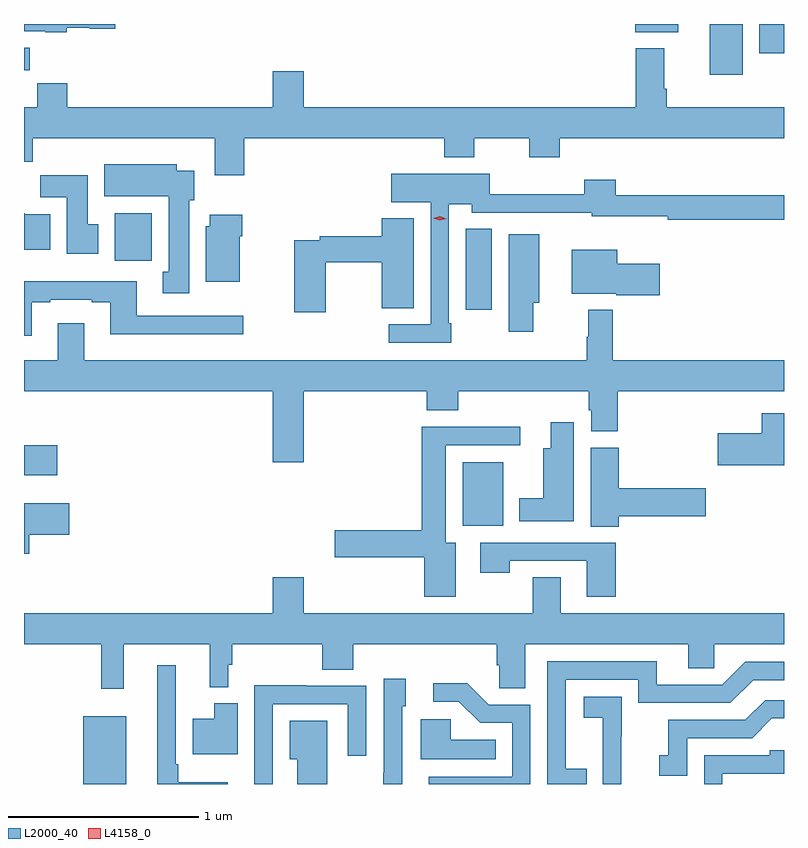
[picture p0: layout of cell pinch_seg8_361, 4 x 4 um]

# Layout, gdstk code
import gdstk
lib = gdstk.Library(unit=1e-6, precision=1e-09)
def R(c, l, rs):  # rectangles x0, y0, x1, y1
    for r in rs: c.add(gdstk.rectangle(r[:2], r[2:], *l))
def P(c, l, *ps):  # polygons
    for p in ps: c.add(gdstk.Polygon(p, *l))
L2000_40 = (2000, 40)
L4158_0 = (4158, 0)

pinch_seg8_361 = lib.new_cell('pinch_seg8_361')
R(pinch_seg8_361, L2000_40, [(487.688,1101.113,487.915,1101.469), (489.686,1102.472,489.898,1102.807), (487.376,1102.739,487.552,1102.897), (489.701,1103.61,489.838,1104.035), (487.853,1103.868,488.049,1104.118), (490.985,1104.845,491.158,1105.113), (487.376,1104.87,487.406,1104.988), (491.246,1104.96,491.376,1105.113), (490.592,1105.07,490.819,1105.113)])
P(pinch_seg8_361, L2000_40, [(487.602,1105.094),(487.722,1105.094),(487.722,1105.087),(487.855,1105.087),(487.855,1105.113),(487.376,1105.113),(487.376,1105.076),(487.488,1105.076),(487.488,1105.07),(487.602,1105.07)],
  [(491.376,1104.676),(490.76,1104.676),(490.76,1104.772),(490.747,1104.772),(490.747,1104.985),(490.595,1104.985),(490.595,1104.676),(488.848,1104.676),(488.848,1104.865),(488.684,1104.865),(488.684,1104.676),(487.604,1104.676),(487.604,1104.8),(487.447,1104.8),(487.447,1104.676),(487.376,1104.676),(487.376,1104.388),(487.421,1104.388),(487.421,1104.512),(488.381,1104.512),(488.381,1104.318),(488.534,1104.318),(488.534,1104.512),(489.587,1104.512),(489.587,1104.413),(489.747,1104.413),(489.747,1104.512),(490.036,1104.512),(490.036,1104.413),(490.196,1104.413),(490.196,1104.512),(491.376,1104.512)],
  [(488.245,1104.186),(488.272,1104.186),(488.272,1104.34),(488.179,1104.34),(488.179,1104.376),(487.799,1104.376),(487.799,1104.206),(488.138,1104.206),(488.138,1103.809),(488.105,1103.809),(488.105,1103.697),(488.245,1103.697)],
  [(489.625,1103.539),(489.612,1103.539),(489.612,1104.164),(489.732,1104.164),(489.732,1104.12),(490.365,1104.12),(490.365,1104.1),(490.765,1104.1),(490.765,1104.082),(491.376,1104.082),(491.376,1104.211),(490.49,1104.211),(490.49,1104.292),(490.325,1104.292),(490.325,1104.218),(489.828,1104.218),(489.828,1104.325),(489.309,1104.325),(489.309,1104.176),(489.516,1104.176),(489.516,1103.532),(489.297,1103.532),(489.297,1103.436),(489.625,1103.436)],
  [(487.768,1104.06),(487.711,1104.06),(487.711,1104.318),(487.462,1104.318),(487.462,1104.2),(487.601,1104.2),(487.601,1103.904),(487.768,1103.904)],
  [(487.513,1104.112),(487.38,1104.112),(487.38,1104.118),(487.376,1104.118),(487.376,1103.924),(487.513,1103.924)],
  [(488.512,1103.996),(488.525,1103.996),(488.525,1104.109),(488.354,1104.109),(488.354,1104.048),(488.333,1104.048),(488.333,1103.756),(488.512,1103.756)],
  [(488.964,1103.86),(489.26,1103.86),(489.26,1103.617),(489.427,1103.617),(489.427,1104.091),(489.26,1104.091),(489.26,1103.996),(488.932,1103.996),(488.932,1103.976),(488.798,1103.976),(488.798,1103.595),(488.964,1103.595)],
  [(490.056,1103.645),(490.087,1103.645),(490.087,1104.007),(489.926,1104.007),(489.926,1103.493),(490.056,1103.493)],
  [(490.723,1103.851),(490.498,1103.851),(490.498,1103.926),(490.259,1103.926),(490.259,1103.693),(490.494,1103.693),(490.494,1103.686),(490.723,1103.686)],
  [(487.417,1103.649),(487.513,1103.649),(487.513,1103.661),(487.733,1103.661),(487.733,1103.649),(487.829,1103.649),(487.829,1103.48),(488.53,1103.48),(488.53,1103.577),(487.969,1103.577),(487.969,1103.758),(487.376,1103.758),(487.376,1103.472),(487.417,1103.472)],
  [(488.848,1103.18),(489.497,1103.18),(489.497,1103.081),(489.662,1103.081),(489.662,1103.18),(490.349,1103.18),(490.349,1103.079),(490.361,1103.079),(490.361,1102.969),(490.502,1102.969),(490.502,1103.18),(491.376,1103.18),(491.376,1103.344),(490.474,1103.344),(490.474,1103.608),(490.347,1103.608),(490.347,1103.468),(490.339,1103.468),(490.339,1103.344),(487.693,1103.344),(487.693,1103.539),(487.553,1103.539),(487.553,1103.344),(487.376,1103.344),(487.376,1103.18),(488.684,1103.18),(488.684,1102.806),(488.848,1102.806)],
  [(491.376,1103.065),(491.258,1103.065),(491.258,1102.96),(491.028,1102.96),(491.028,1102.79),(491.376,1102.79)],
  [(490.27,1103.017),(490.148,1103.017),(490.148,1102.879),(490.109,1102.879),(490.109,1102.618),(489.983,1102.618),(489.983,1102.496),(490.27,1102.496)],
  [(489.649,1102.384),(489.595,1102.384),(489.595,1102.896),(489.988,1102.896),(489.988,1102.994),(489.47,1102.994),(489.47,1102.448),(489.012,1102.448),(489.012,1102.306),(489.482,1102.306),(489.482,1102.098),(489.649,1102.098)],
  [(490.505,1102.523),(490.963,1102.523),(490.963,1102.67),(490.505,1102.67),(490.505,1102.884),(490.358,1102.884),(490.358,1102.468),(490.505,1102.468)],
  [(487.403,1102.426),(487.615,1102.426),(487.615,1102.591),(487.376,1102.591),(487.376,1102.325),(487.403,1102.325)],
  [(490.49,1102.383),(489.777,1102.383),(489.777,1102.224),(489.933,1102.224),(489.933,1102.287),(490.337,1102.287),(490.337,1102.098),(490.49,1102.098)],
  [(487.901,1101.848),(488.354,1101.848),(488.354,1101.623),(488.452,1101.623),(488.452,1101.741),(488.471,1101.741),(488.471,1101.848),(488.945,1101.848),(488.945,1101.715),(489.11,1101.715),(489.11,1101.848),(489.863,1101.848),(489.863,1101.739),(489.876,1101.739),(489.876,1101.616),(490.015,1101.616),(490.015,1101.848),(490.871,1101.848),(490.871,1101.721),(491.01,1101.721),(491.01,1101.848),(491.376,1101.848),(491.376,1102.012),(490.201,1102.012),(490.201,1102.202),(490.054,1102.202),(490.054,1102.012),(488.848,1102.012),(488.848,1102.201),(488.684,1102.201),(488.684,1102.012),(487.376,1102.012),(487.376,1101.848),(487.783,1101.848),(487.783,1101.615),(487.901,1101.615)],
  [(490.337,1101.194),(490.227,1101.194),(490.227,1101.663),(490.608,1101.663),(490.608,1101.54),(491.094,1101.54),(491.214,1101.66),(491.376,1101.66),(491.376,1101.756),(491.172,1101.756),(491.052,1101.636),(490.705,1101.636),(490.705,1101.759),(490.131,1101.759),(490.131,1101.113),(490.337,1101.113)],
  [(488.448,1101.121),(488.188,1101.121),(488.188,1101.217),(488.175,1101.217),(488.175,1101.739),(488.078,1101.739),(488.078,1101.113),(488.448,1101.113)],
  [(489.367,1101.203),(489.366,1101.203),(489.366,1101.522),(489.385,1101.522),(489.385,1101.667),(489.27,1101.667),(489.27,1101.173),(489.268,1101.173),(489.268,1101.113),(489.367,1101.113)],
  [(490.041,1101.531),(489.822,1101.531),(489.709,1101.644),(489.531,1101.644),(489.531,1101.546),(489.665,1101.546),(489.776,1101.435),(489.945,1101.435),(489.945,1101.15),(489.507,1101.15),(489.507,1101.113),(490.041,1101.113)],
  [(488.685,1101.534),(489.081,1101.534),(489.081,1101.261),(489.177,1101.261),(489.177,1101.63),(488.861,1101.63),(488.861,1101.632),(488.589,1101.632),(488.589,1101.166),(488.588,1101.166),(488.588,1101.113),(488.685,1101.113)],
  [(490.52,1101.365),(490.521,1101.365),(490.521,1101.571),(490.323,1101.571),(490.323,1101.461),(490.421,1101.461),(490.421,1101.233),(490.422,1101.233),(490.422,1101.113),(490.52,1101.113)],
  [(490.866,1101.354),(491.208,1101.354),(491.312,1101.458),(491.376,1101.458),(491.376,1101.555),(491.276,1101.555),(491.171,1101.45),(490.768,1101.45),(490.768,1101.265),(490.719,1101.265),(490.719,1101.156),(490.866,1101.156)],
  [(488.5,1101.538),(488.378,1101.538),(488.378,1101.457),(488.264,1101.457),(488.264,1101.269),(488.5,1101.269)],
  [(489.86,1101.346),(489.621,1101.346),(489.621,1101.454),(489.464,1101.454),(489.464,1101.242),(489.86,1101.242)],
  [(488.971,1101.445),(488.774,1101.445),(488.774,1101.242),(488.813,1101.242),(488.813,1101.113),(488.971,1101.113)],
  [(491.052,1101.168),(491.376,1101.168),(491.376,1101.291),(491.301,1101.291),(491.301,1101.264),(490.956,1101.264),(490.956,1101.113),(491.052,1101.113)])
P(pinch_seg8_361, L4158_0, [(489.564,1104.08),(489.53,1104.09),(489.53,1104.09),(489.53,1104.091),(489.565,1104.1),(489.599,1104.089),(489.6,1104.089),(489.599,1104.089)])

lib.write_gds('pinch_seg8_361.gds')
